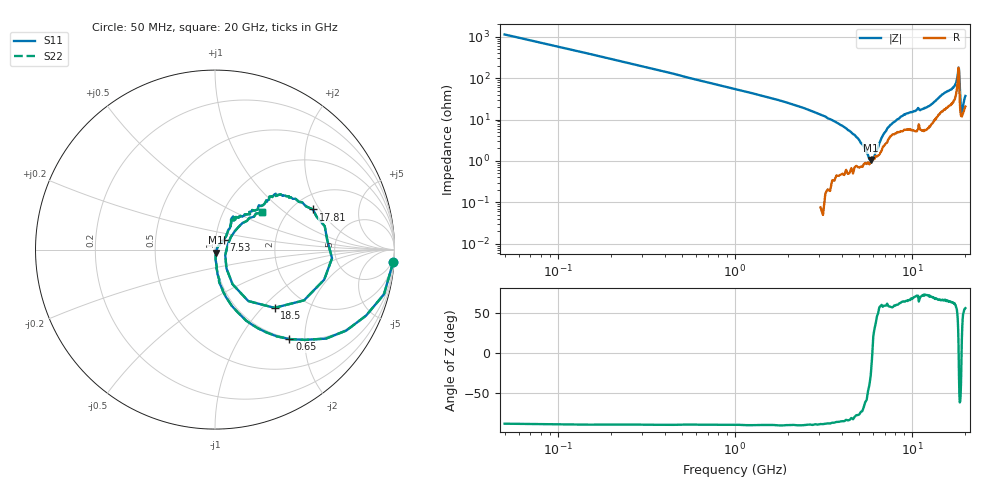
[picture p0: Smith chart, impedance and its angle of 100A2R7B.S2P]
!  American Technical Ceramics  Date:  3/13/98
!  One Norden Lane
!  Huntington Station,  NY.  11746-2102
!  Tel:  (516) 547-5700  Fax:  (516) 547-5748
!  Part Number  100A2R7B
!  Description: Porcelain, High Q, Low ESR
!  Application: Bypass, Coupling, Timing, Feedback
!  Tuning, Impedance Match, Blocking
# GHZ S DB R 50
! Freq  |S11|  S11 Ph  |S21|  S21 Ph  |S12|  S12 Ph  |S22|  S22 Ph
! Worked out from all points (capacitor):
!   201 points, 50 MHz to 20 GHz, reference 50 ohm
!   read as one part in series: C = 2.74 pF near 150 MHz
!   lowest |Z| = 1.06 ohm at 5.84 GHz (marker M1)
!   series resonance near 5.965 GHz, so ESL is about 260 pH
!   S11 on the Smith chart (normalised r, x): 50 MHz: 2, -29; 650 MHz: 0.98, -1.69; 7.53 GHz: 1.09, +0.11; 17.81 GHz: 2.54, +1.74; 18.5 GHz: 1.42, -1.18; 20 GHz: 1.50, +0.72
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0.05  -0.04 -3.9  -21.15 85.3  -21.15 85.3  -0.04 -3.9
0.15  -0.23 -14.8  -12.02 75.6  -12.02 75.6  -0.23 -14.8
0.25  -0.74 -23.6  -8.06 66.7  -8.06 66.7  -0.74 -23.6
0.65  -3.76 -50.2  -2.43 40.6  -2.43 40.6  -3.76 -50.2
1.55  -9.72 -73.4  -0.53 18.8  -0.53 18.8  -9.72 -73.4
3.44  -19.78 -85.5  -0.10 5.8  -0.10 5.8  -19.78 -85.5
4.94  -27.03 -85.3  -0.11 1.4  -0.11 1.4  -27.03 -85.3
5.84  -34.86 -74.7  -0.12 -0.4  -0.12 -0.4  -34.86 -74.7
6.33  -40.55 1.2  -0.14 -1.5  -0.14 -1.5  -40.55 1.2
6.73  -31.70 46.7  -0.16 -2.5  -0.16 -2.5  -31.70 46.7
7.53  -23.00 47.4  -0.28 -3.8  -0.28 -3.8  -23.00 47.4
10.03  -15.17 58.9  -0.36 -6.2  -0.36 -6.2  -15.17 58.9
13.42  -11.49 47.7  -0.58 -13.0  -0.58 -13.0  -11.49 47.7
16.71  -6.35 38.9  -1.63 -19.1  -1.63 -19.1  -6.35 38.9
17.81  -4.59 22.3  -3.18 -28.9  -3.18 -28.9  -4.59 22.3
18.2  -3.69 -4.2  -7.08 -30.2  -7.08 -30.2  -3.69 -4.2
18.4  -4.87 -29.7  -9.48 5.4  -9.48 5.4  -4.87 -29.7
18.5  -6.67 -44.4  -6.85 20.6  -6.85 20.6  -6.67 -44.4
18.7  -13.32 -63.1  -2.86 17.0  -2.86 17.0  -13.32 -63.1
18.9  -23.78 -28.2  -1.57 7.5  -1.57 7.5  -23.78 -28.2
19.3  -14.68 44.0  -1.14 -4.1  -1.14 -4.1  -14.68 44.0
20  -9.47 39.1  -1.50 -13.4  -1.50 -13.4  -9.47 39.1
